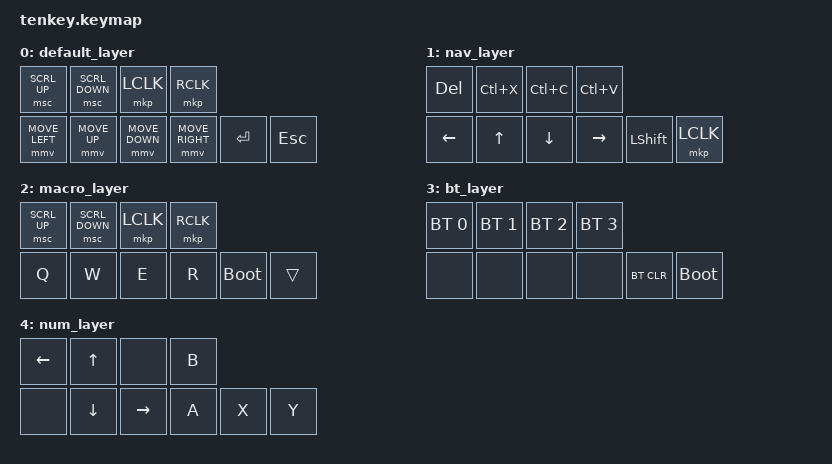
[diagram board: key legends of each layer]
#include <behaviors.dtsi>
#include <dt-bindings/zmk/keys.h>
#include <dt-bindings/zmk/bt.h>

#define ZMK_POINTING_DEFAULT_MOVE_VAL 1500  // default: 600
#define ZMK_POINTING_DEFAULT_SCRL_VAL 20    // default: 10

#include <dt-bindings/zmk/pointing.h>

/ {
    combos {
        compatible = "zmk,combos";
        
        //toggle layer 0 (return to base layer)
        combo_layer0 {
            timeout-ms = <30>;
            key-positions = <8 9>;  // tap both thumb keys to go to home layer
            bindings = <&to 0>;
        };

        //toggle layer 1 (navigation layer)
        combo_layer1 {
            timeout-ms = <30>;
            key-positions = <0 9>;  // toggle nav layer with top pinky key and outer thumb key
            bindings = <&to 1>;
        };

        //toggle layer 2 (macros layer)
        combo_layer2 {
            timeout-ms = <30>;
            key-positions = <1 9>;  // toggle macro layer with top ring key and outer thumb key
            bindings = <&to 2>;
        };

        //toggle layer 3 (bt layer)
        combo_layer3 {
            timeout-ms = <30>;
            key-positions = <7 9>;  // toggle bluetooth layer with lower index key and outer thumb key
            bindings = <&to 3>;
        };

        //toggle layer 4 (game layer)
        combo_layer4 {
            timeout-ms = <30>;
            key-positions = <2 9>;  // toggle gamepad layer with upper middle key and outer thumb key
            bindings = <&to 4>;
        };
    };
    
    keymap {
        compatible = "zmk,keymap";

        // Layer 0: Mouse Controls
        default_layer {
            bindings = <
                &msc SCRL_UP   &msc SCRL_DOWN   &mkp LCLK   &mkp RCLK        
                &mmv MOVE_LEFT   &mmv MOVE_UP   &mmv MOVE_DOWN   &mmv MOVE_RIGHT   &kp ENTER   &kp ESC            
            >;
        };
            
        // Layer 1: Navigation
        nav_layer {
            bindings = <
                &kp DEL   &kp LC(X)   &kp LC(C)   &kp LC(V)        
                &kp LEFT    &kp UP    &kp DOWN      &kp RIGHT   &kp LSHFT   &mkp LCLK            
            >;
        };

        // Layer 2: Macros
        macro_layer {
            bindings = <
                &msc SCRL_UP   &msc SCRL_DOWN   &mkp LCLK   &mkp RCLK        
                &kp Q   &kp W   &kp E   &kp R   &bootloader   &trans            
            >;
        };

        // Layer 3: Bluetooth
        bt_layer {
            bindings = <
                &bt BT_SEL 0    &bt BT_SEL 1    &bt BT_SEL 2    &bt BT_SEL 3        
                &none           &none           &none           &none           &bt BT_CLR   &bootloader            
            >;
        };

        // Layer 4: Gamepad
        num_layer {
            bindings = <
                &kp LEFT    &kp UP    &none    &kp B            
                &none    &kp DOWN    &kp RIGHT    &kp A    &kp X     &kp Y            
            >;
        };
    };
};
